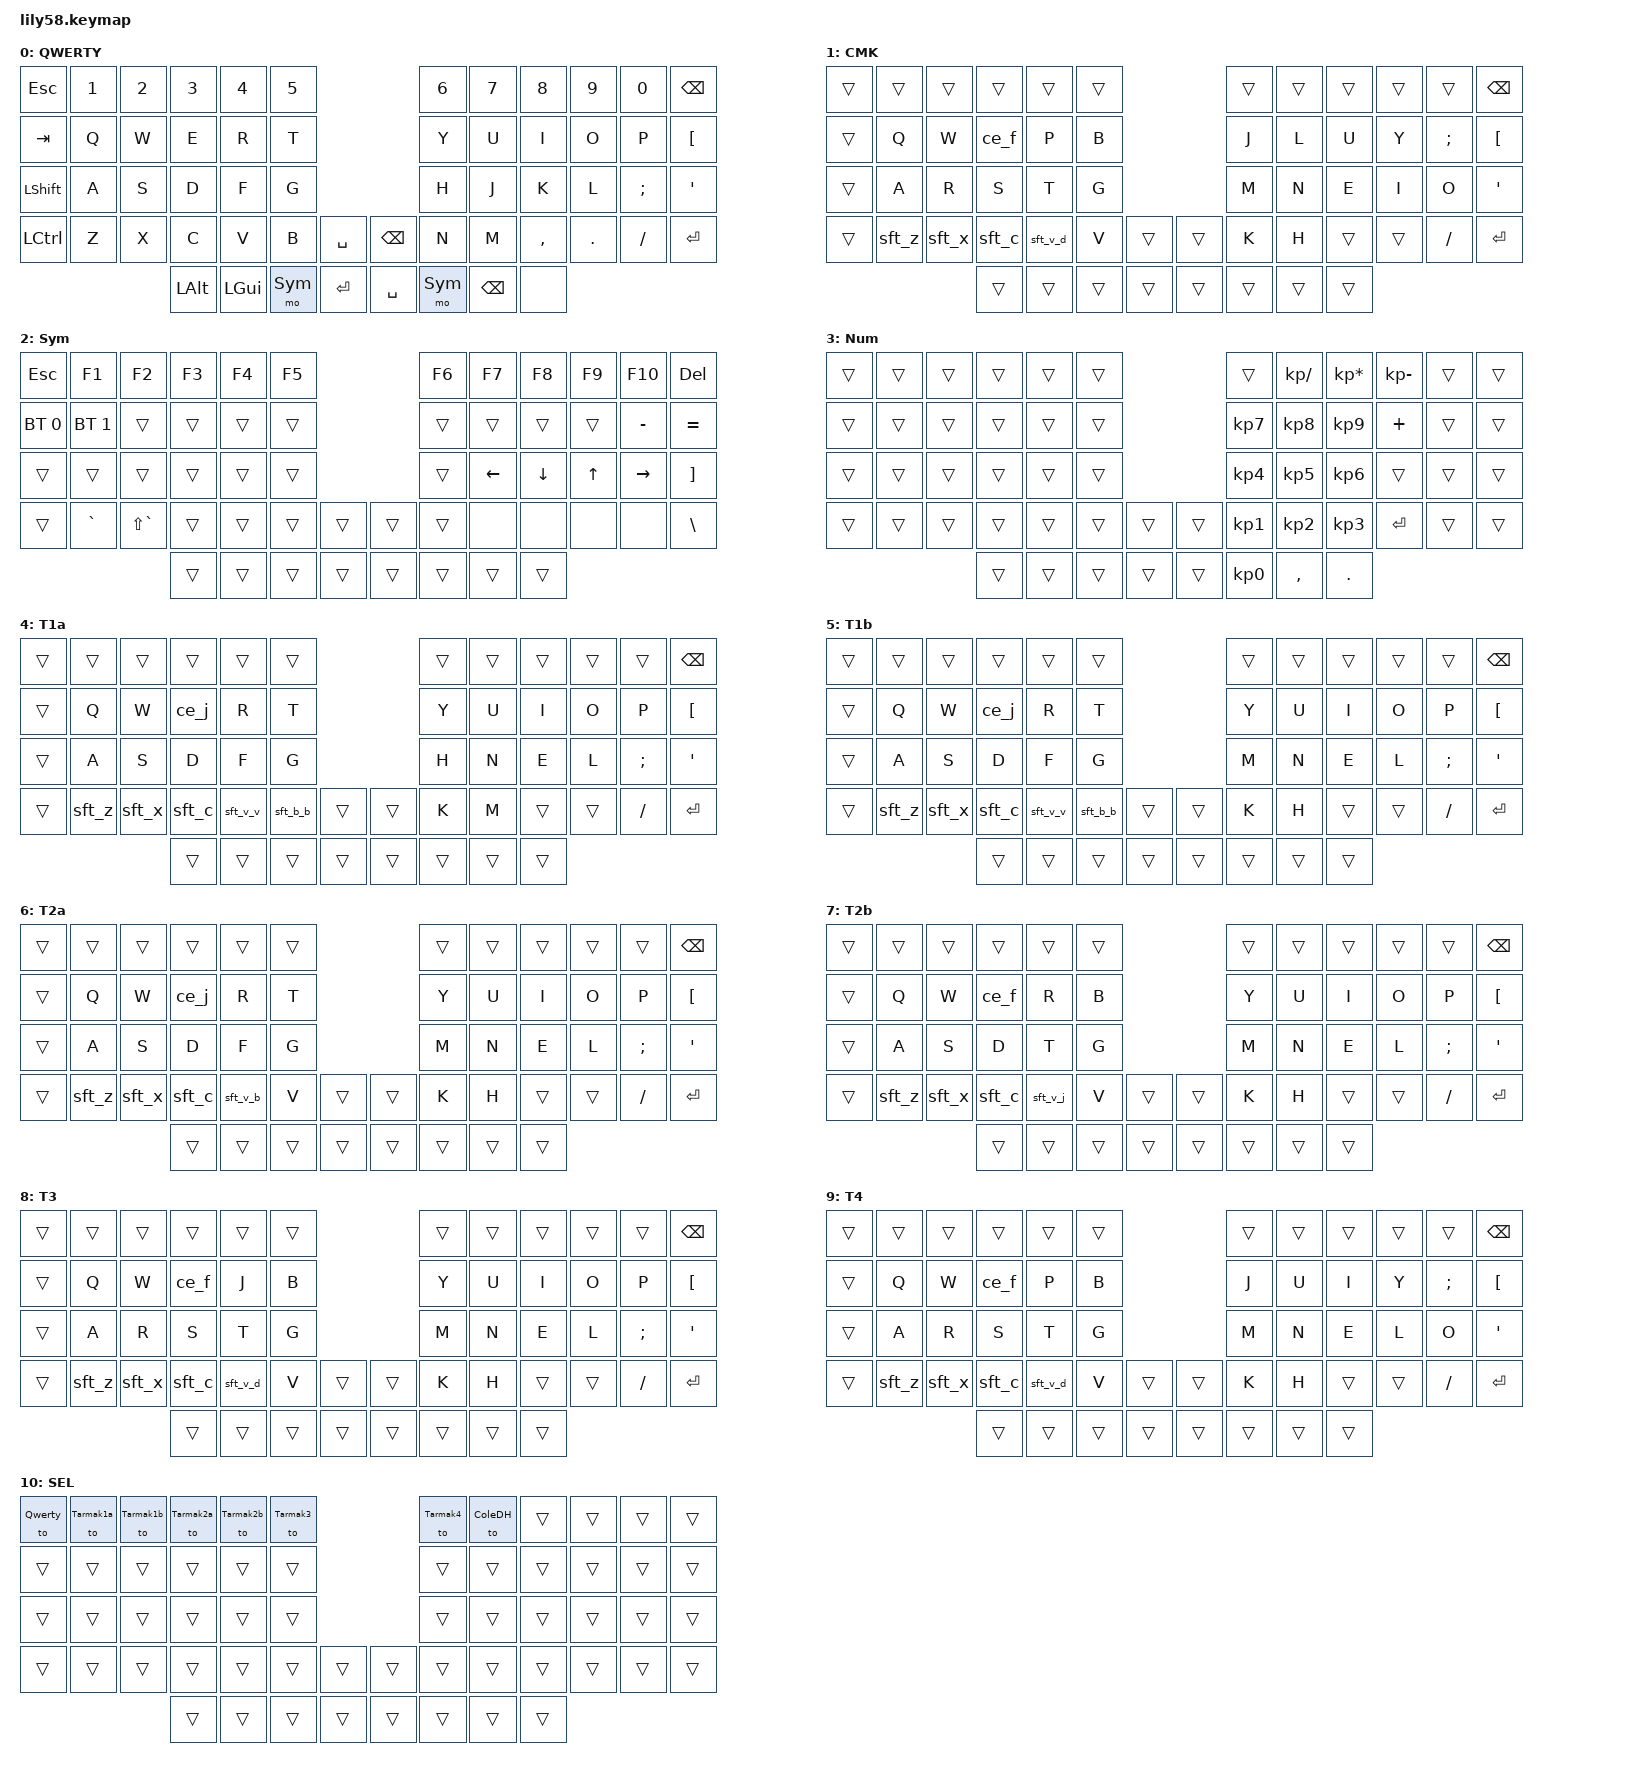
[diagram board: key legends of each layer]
/*
 * Copyright (c) 2020 The ZMK Contributors
 *
 * SPDX-License-Identifier: MIT
 */

#include <behaviors.dtsi>
#include "keys_sv.h"
#include <dt-bindings/zmk/bt.h>
#include <dt-bindings/zmk/keys.h>
#include <dt-bindings/zmk/modifiers.h>

// Layers
#define Qwerty 0
#define ColeDH 1
#define Sym 2
#define Numpad 3
#define Tarmak1a 4
#define Tarmak1b 5
#define Tarmak2a 6
#define Tarmak2b 7
#define Tarmak3 8
#define Tarmak4 9
#define Sel 10

#define SV_PLUS_
/ {
    behaviors {
        // Cmd/Ctrl shortcut cluster, shifted one column RIGHT of the keycaps.
        // Kanata pins grv+z/x/c/v under Cmd/Ctrl on the ISO board, where the extra
        // <> key sits left of Z. The ortho Lily58 lacks that key, so the cluster
        // slides right by one to stay under the same fingers:
        //   physical  Z  X  C  V  B   ->   `  Z  X  C  V   (only while Cmd or Ctrl held)
        //   = cmd-` (cycle windows), undo, cut, copy, paste.
        // First binding = the layer's normal letter; second = the shifted shortcut.
        // physical-V's normal letter varies per Tarmak step -> sft_v_{v,b,j,d}.
        // physical-B already types v from step 2a on (plain &kp V there = paste);
        // sft_b_b covers steps 1a/1b where it still types b.
        sft_z: sft_z {
            compatible = "zmk,behavior-mod-morph"; #binding-cells = <0>;
            bindings = <&kp Z>, <&kp GRAVE>;
            mods = <(MOD_LGUI|MOD_RGUI|MOD_LCTL|MOD_RCTL)>; keep-mods = <(MOD_LGUI|MOD_RGUI|MOD_LCTL|MOD_RCTL)>;
        };
        sft_x: sft_x {
            compatible = "zmk,behavior-mod-morph"; #binding-cells = <0>;
            bindings = <&kp X>, <&kp Z>;
            mods = <(MOD_LGUI|MOD_RGUI|MOD_LCTL|MOD_RCTL)>; keep-mods = <(MOD_LGUI|MOD_RGUI|MOD_LCTL|MOD_RCTL)>;
        };
        sft_c: sft_c {
            compatible = "zmk,behavior-mod-morph"; #binding-cells = <0>;
            bindings = <&kp C>, <&kp X>;
            mods = <(MOD_LGUI|MOD_RGUI|MOD_LCTL|MOD_RCTL)>; keep-mods = <(MOD_LGUI|MOD_RGUI|MOD_LCTL|MOD_RCTL)>;
        };
        sft_v_v: sft_v_v {
            compatible = "zmk,behavior-mod-morph"; #binding-cells = <0>;
            bindings = <&kp V>, <&kp C>;
            mods = <(MOD_LGUI|MOD_RGUI|MOD_LCTL|MOD_RCTL)>; keep-mods = <(MOD_LGUI|MOD_RGUI|MOD_LCTL|MOD_RCTL)>;
        };
        sft_v_b: sft_v_b {
            compatible = "zmk,behavior-mod-morph"; #binding-cells = <0>;
            bindings = <&kp B>, <&kp C>;
            mods = <(MOD_LGUI|MOD_RGUI|MOD_LCTL|MOD_RCTL)>; keep-mods = <(MOD_LGUI|MOD_RGUI|MOD_LCTL|MOD_RCTL)>;
        };
        sft_v_j: sft_v_j {
            compatible = "zmk,behavior-mod-morph"; #binding-cells = <0>;
            bindings = <&kp J>, <&kp C>;
            mods = <(MOD_LGUI|MOD_RGUI|MOD_LCTL|MOD_RCTL)>; keep-mods = <(MOD_LGUI|MOD_RGUI|MOD_LCTL|MOD_RCTL)>;
        };
        sft_v_d: sft_v_d {
            compatible = "zmk,behavior-mod-morph"; #binding-cells = <0>;
            bindings = <&kp D>, <&kp C>;
            mods = <(MOD_LGUI|MOD_RGUI|MOD_LCTL|MOD_RCTL)>; keep-mods = <(MOD_LGUI|MOD_RGUI|MOD_LCTL|MOD_RCTL)>;
        };
        sft_b_b: sft_b_b {
            compatible = "zmk,behavior-mod-morph"; #binding-cells = <0>;
            bindings = <&kp B>, <&kp V>;
            mods = <(MOD_LGUI|MOD_RGUI|MOD_LCTL|MOD_RCTL)>; keep-mods = <(MOD_LGUI|MOD_RGUI|MOD_LCTL|MOD_RCTL)>;
        };
        ce_f: ctrl_e_from_f {
            compatible = "zmk,behavior-mod-morph";
            #binding-cells = <0>;
            bindings = <&kp F>, <&kp E>;
            mods = <(MOD_LCTL|MOD_RCTL)>;
            keep-mods = <(MOD_LCTL|MOD_RCTL)>;
        };
        ce_j: ctrl_e_from_j {
            compatible = "zmk,behavior-mod-morph";
            #binding-cells = <0>;
            bindings = <&kp J>, <&kp E>;
            mods = <(MOD_LCTL|MOD_RCTL)>;
            keep-mods = <(MOD_LCTL|MOD_RCTL)>;
        };
    };

    keymap {
        compatible = "zmk,keymap";

        qwerty {
            display-name = "QWERTY";
            bindings = <
&kp ESC     &kp N1  &kp N2  &kp N3    &kp N4    &kp N5                           &kp N6      &kp N7     &kp N8     &kp N9   &kp N0    &kp BSPC
&kp TAB     &kp Q   &kp W   &kp E     &kp R     &kp T                            &kp Y       &kp U      &kp I      &kp O    &kp P     &kp LBKT
&kp LSHIFT  &kp A   &kp S   &kp D     &kp F     &kp G                            &kp H       &kp J      &kp K      &kp L    &kp SEMI  &kp APOS
&kp LCTRL   &kp Z   &kp X   &kp C     &kp V     &kp B    &kp SPACE    &kp BSPC   &kp N       &kp M      &kp COMMA  &kp DOT  &kp FSLH  &kp RET
                            &kp LALT  &kp LGUI  &mo Sym  &kp RET      &kp SPACE  &mo Sym     &kp BSPC   &none 
            >;
        };

        colemak_dh {
            display-name = "CMK";
            bindings = <
&trans  &trans  &trans  &trans    &trans    &trans                          &trans      &trans     &trans     &trans   &trans    &kp BSPC
&trans  &kp Q   &kp W   &ce_f     &kp P     &kp B                           &kp J       &kp L      &kp U      &kp Y    &kp SEMI  &kp LBKT
&trans  &kp A   &kp R   &kp S     &kp T     &kp G                           &kp M       &kp N      &kp E      &kp I    &kp O     &kp APOS
&trans  &sft_z  &sft_x  &sft_c    &sft_v_d  &kp V   &trans       &trans     &kp K       &kp H      &trans     &trans   &kp FSLH  &kp RET
                        &trans    &trans    &trans  &trans       &trans     &trans      &trans     &trans 
            >;
        };

        layer2 {
            display-name = "Sym";
            bindings = <
&kp ESC       &kp F1        &kp F2         &kp F3    &kp F4      &kp F5                       &kp F6     &kp F7     &kp F8     &kp F9    &kp F10      &kp DEL
&bt BT_SEL 0  &bt BT_SEL 1  &trans         &trans    &trans      &trans                       &trans     &trans     &trans     &trans    &kp MINUS    &kp EQUAL
&trans        &trans        &trans         &trans    &trans      &trans                       &trans     &kp LEFT   &kp DOWN   &kp UP    &kp RIGHT    &kp RBKT
&trans        &kp GRAVE     &kp LS(GRAVE)  &trans    &trans      &trans     &trans    &trans  &trans     &none      &none      &none     &none        &kp BACKSLASH
                                           &trans    &trans      &trans     &trans    &trans  &trans     &trans     &trans
            >;
        };

        numpad_layer {
            display-name = "Num";
            bindings = <
&trans  &trans  &trans  &trans   &trans   &trans                     &trans       &kp KP_DIVIDE  &kp KP_MULTIPLY  &kp KP_MINUS  &trans    &trans
&trans  &trans  &trans  &trans   &trans   &trans                     &kp KP_N7    &kp KP_N8      &kp KP_N9        &kp PLUS      &trans    &trans
&trans  &trans  &trans  &trans   &trans   &trans                     &kp KP_N4    &kp KP_N5      &kp KP_N6        &trans        &trans    &trans
&trans  &trans  &trans  &trans   &trans   &trans  &trans     &trans  &kp KP_N1    &kp KP_N2      &kp KP_N3        &kp RET       &trans    &trans
                        &trans   &trans   &trans  &trans     &trans  &kp KP_N0    &kp COMMA      &kp DOT
            >;
        };

        // --- Tarmak progression to Colemak-DH (de-angled for ortho/columnar) ---
        // Mirrors the Kanata setup on the internal keyboard. The ISO angle mod
        // is dropped (no <> key, no row stagger to compensate for); the DH curl
        // is kept. Final step == the colemak_dh layer above. Switch steps via
        // the Sel layer (combo ESC+TAB, then a number) -- see README.

        tarmak1a { // E>K>N>(J): E and N to home row
            display-name = "T1a";
            bindings = <
&trans  &trans  &trans  &trans    &trans    &trans                          &trans      &trans     &trans     &trans   &trans    &kp BSPC
&trans  &kp Q   &kp W   &ce_j     &kp R     &kp T                           &kp Y       &kp U      &kp I      &kp O    &kp P     &kp LBKT
&trans  &kp A   &kp S   &kp D     &kp F     &kp G                           &kp H       &kp N      &kp E      &kp L    &kp SEMI  &kp APOS
&trans  &sft_z  &sft_x  &sft_c    &sft_v_v  &sft_b_b &trans      &trans     &kp K       &kp M      &trans     &trans   &kp FSLH  &kp RET
                        &trans    &trans    &trans  &trans       &trans     &trans      &trans     &trans
            >;
        };

        tarmak1b { // + H>M curl swap
            display-name = "T1b";
            bindings = <
&trans  &trans  &trans  &trans    &trans    &trans                          &trans      &trans     &trans     &trans   &trans    &kp BSPC
&trans  &kp Q   &kp W   &ce_j     &kp R     &kp T                           &kp Y       &kp U      &kp I      &kp O    &kp P     &kp LBKT
&trans  &kp A   &kp S   &kp D     &kp F     &kp G                           &kp M       &kp N      &kp E      &kp L    &kp SEMI  &kp APOS
&trans  &sft_z  &sft_x  &sft_c    &sft_v_v  &sft_b_b &trans      &trans     &kp K       &kp H      &trans     &trans   &kp FSLH  &kp RET
                        &trans    &trans    &trans  &trans       &trans     &trans      &trans     &trans
            >;
        };

        tarmak2a { // + B/V relocation (Kanata's angle-mod step; angle itself dropped)
            display-name = "T2a";
            bindings = <
&trans  &trans  &trans  &trans    &trans    &trans                          &trans      &trans     &trans     &trans   &trans    &kp BSPC
&trans  &kp Q   &kp W   &ce_j     &kp R     &kp T                           &kp Y       &kp U      &kp I      &kp O    &kp P     &kp LBKT
&trans  &kp A   &kp S   &kp D     &kp F     &kp G                           &kp M       &kp N      &kp E      &kp L    &kp SEMI  &kp APOS
&trans  &sft_z  &sft_x  &sft_c    &sft_v_b  &kp V   &trans       &trans     &kp K       &kp H      &trans     &trans   &kp FSLH  &kp RET
                        &trans    &trans    &trans  &trans       &trans     &trans      &trans     &trans
            >;
        };

        tarmak2b { // + (J)>B>T>F: T to home row
            display-name = "T2b";
            bindings = <
&trans  &trans  &trans  &trans    &trans    &trans                          &trans      &trans     &trans     &trans   &trans    &kp BSPC
&trans  &kp Q   &kp W   &ce_f     &kp R     &kp B                           &kp Y       &kp U      &kp I      &kp O    &kp P     &kp LBKT
&trans  &kp A   &kp S   &kp D     &kp T     &kp G                           &kp M       &kp N      &kp E      &kp L    &kp SEMI  &kp APOS
&trans  &sft_z  &sft_x  &sft_c    &sft_v_j  &kp V   &trans       &trans     &kp K       &kp H      &trans     &trans   &kp FSLH  &kp RET
                        &trans    &trans    &trans  &trans       &trans     &trans      &trans     &trans
            >;
        };

        tarmak3 { // + (J)>R>S>D: R, S, D placed; bottom row final (DH curl)
            display-name = "T3";
            bindings = <
&trans  &trans  &trans  &trans    &trans    &trans                          &trans      &trans     &trans     &trans   &trans    &kp BSPC
&trans  &kp Q   &kp W   &ce_f     &kp J     &kp B                           &kp Y       &kp U      &kp I      &kp O    &kp P     &kp LBKT
&trans  &kp A   &kp R   &kp S     &kp T     &kp G                           &kp M       &kp N      &kp E      &kp L    &kp SEMI  &kp APOS
&trans  &sft_z  &sft_x  &sft_c    &sft_v_d  &kp V   &trans       &trans     &kp K       &kp H      &trans     &trans   &kp FSLH  &kp RET
                        &trans    &trans    &trans  &trans       &trans     &trans      &trans     &trans
            >;
        };

        tarmak4 { // + J>Y>O>;>P: O to home row
            display-name = "T4";
            bindings = <
&trans  &trans  &trans  &trans    &trans    &trans                          &trans      &trans     &trans     &trans   &trans    &kp BSPC
&trans  &kp Q   &kp W   &ce_f     &kp P     &kp B                           &kp J       &kp U      &kp I      &kp Y    &kp SEMI  &kp LBKT
&trans  &kp A   &kp R   &kp S     &kp T     &kp G                           &kp M       &kp N      &kp E      &kp L    &kp O     &kp APOS
&trans  &sft_z  &sft_x  &sft_c    &sft_v_d  &kp V   &trans       &trans     &kp K       &kp H      &trans     &trans   &kp FSLH  &kp RET
                        &trans    &trans    &trans  &trans       &trans     &trans      &trans     &trans
            >;
        };

        // Layout selector. Reach via combo ESC+TAB (&tog Sel), then tap one of
        // the number-row keys to jump to that step (it auto-closes via &to):
        //   ESC=Qwerty  1=T1a  2=T1b  3=T2a  4=T2b  5=T3  6=T4  7=Colemak-DH
        sel {
            display-name = "SEL";
            bindings = <
&to Qwerty  &to Tarmak1a  &to Tarmak1b  &to Tarmak2a  &to Tarmak2b  &to Tarmak3                    &to Tarmak4  &to ColeDH  &trans  &trans  &trans  &trans
&trans      &trans        &trans        &trans        &trans        &trans                          &trans       &trans      &trans  &trans  &trans  &trans
&trans      &trans        &trans        &trans        &trans        &trans                          &trans       &trans      &trans  &trans  &trans  &trans
&trans      &trans        &trans        &trans        &trans        &trans   &trans       &trans     &trans      &trans      &trans  &trans  &trans  &trans
                                        &trans        &trans        &trans   &trans       &trans     &trans      &trans      &trans
            >;
        };
    };

    combos {
        compatible = "zmk,combos";

        combo_lock {
            timeout-ms = <50>;
            key-positions = <0 11>;
            //bindings = <&kp LOCK>; // Windows
            bindings = <&kp LG(LC(Q))>; // Mac
        };

        toggle_numpad {
            bindings = <&tog Numpad>;
            key-positions = <52 55>;
        };

        layer_select {
            bindings = <&tog Sel>;
            key-positions = <0 12>;
        };
    };
};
